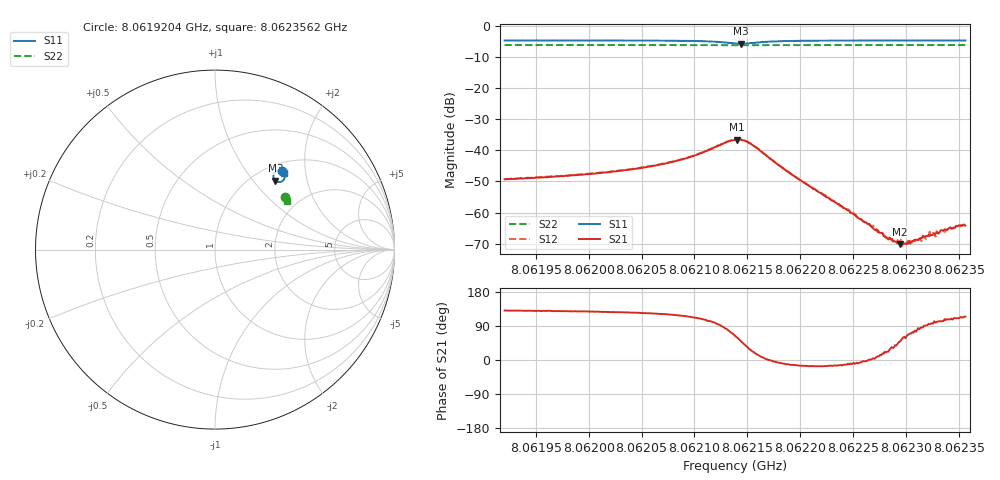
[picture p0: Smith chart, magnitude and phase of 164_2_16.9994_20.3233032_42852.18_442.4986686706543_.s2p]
#  HZ  S  RI  R  50.00
! Rohde & Schwarz Vector Network Analyzer
! Rohde-Schwarz,ZNB20-2Port,1311601062101988,3.16
! Created: UTC 3/20/2024, 10:59:22 PM
! freq[Hz]  re:S11  im:S11  re:S21  im:S21  re:S12  im:S12  re:S22  im:S22
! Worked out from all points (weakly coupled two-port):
!   401 points, 8.0619204 GHz to 8.0623562 GHz, reference 50 ohm
!   highest |S21| = -36.57 dB at 8.0621405 GHz (marker M1); lowest = -70.0 dB at 8.0622941 GHz (marker M2)
!   lowest |S11| = -5.8 dB at 8.0621438 GHz (marker M3), VSWR 3.08, Z = 63.1 + j65.3 ohm
!   |S11| at or under -10 dB: nowhere
!   |S22| runs from -6.3 to -6.3 dB; largest |S21 - S12| = 0.0011
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8.06192043e9  0.3712 0.4401  -0.00222 0.00259  -0.00208 0.00276  0.3875 0.2927
8.06199342e9  0.3772 0.4343  -0.00251 0.00319  -0.00232 0.00334  0.3902 0.2891
8.06206641e9  0.3851 0.4235  -0.00307 0.00497  -0.00282 0.00518  0.3925 0.2852
8.06209691e9  0.3886 0.4118  -0.00315 0.00724  -0.00275 0.00747  0.3935 0.2833
8.06213831e9  0.3515 0.3765  0.00647 0.0132  0.00729 0.0131  0.3927 0.2805
8.06214048e9  0.3454 0.3782  0.00766 0.0127  0.00867 0.0123  0.3925 0.2804
8.06214375e9  0.3368 0.3831  0.0095 0.0114  0.0102 0.0108  0.3922 0.2806
8.06215574e9  0.3258 0.4133  0.011 0.00429  0.0115 0.00359  0.3926 0.2815
8.06218515e9  0.352 0.4391  0.00483 -0.000829  0.0048 -0.00115  0.3951 0.2809
8.06221129e9  0.3645 0.4387  0.00237 -0.000698  0.00239 -0.000864  0.3964 0.2795
8.06226685e9  0.3763 0.4342  0.000613 1.64e-05  0.000608 -7.86e-06  0.3986 0.2766
8.06227775e9  0.3776 0.4334  0.000456 0.000141  0.000445 8.92e-05  0.3989 0.276
8.06228428e9  0.3785 0.4328  0.000356 0.000177  0.000373 0.000169  0.3992 0.2756
8.06229409e9  0.3795 0.4322  0.000212 0.000233  0.000236 0.000243  0.3995 0.2752
8.06229844e9  0.3799 0.4317  0.000153 0.000277  0.000156 0.000275  0.3999 0.2749
8.06230171e9  0.3804 0.4316  0.000129 0.000291  0.000165 0.000309  0.3997 0.2748
8.06230716e9  0.3808 0.4312  0.000108 0.000334  9.76e-05 0.000341  0.4 0.2745
8.06231914e9  0.382 0.4305  -7.34e-06 0.000421  -1.32e-06 0.000376  0.4004 0.2738
8.06232459e9  0.3826 0.43  -4.93e-05 0.000433  -4.72e-05 0.000447  0.4007 0.2737
8.06232895e9  0.3829 0.4297  -8.58e-05 0.000468  -6.41e-05 0.000498  0.4007 0.2734
8.06234964e9  0.3846 0.4284  -0.000211 0.000582  -0.000184 0.000572  0.4015 0.2725
8.06235618e9  0.3853 0.428  -0.000258 0.000562  -0.000171 0.00059  0.4016 0.272
